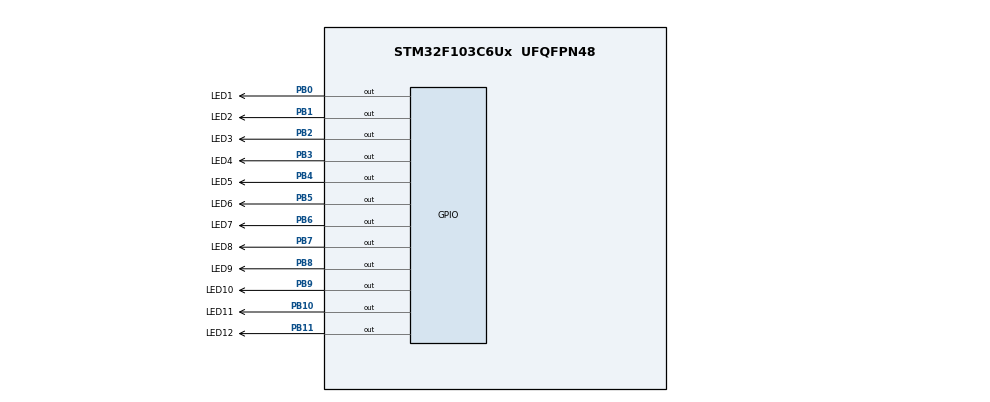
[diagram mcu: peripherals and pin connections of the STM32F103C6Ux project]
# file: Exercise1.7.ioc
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Mcu.Family=STM32F1
Mcu.Name=STM32F103C6Ux
Mcu.Package=UFQFPN48
NVIC.PriorityGroup=NVIC_PRIORITYGROUP_4
PB0.GPIO_Label=LED1
PB0.Signal=GPIO_Output
PB1.GPIO_Label=LED2
PB1.Signal=GPIO_Output
PB10.GPIO_Label=LED11
PB10.Signal=GPIO_Output
PB11.GPIO_Label=LED12
PB11.Signal=GPIO_Output
PB2.GPIO_Label=LED3
PB2.Signal=GPIO_Output
PB3.GPIO_Label=LED4
PB3.Signal=GPIO_Output
PB4.GPIO_Label=LED5
PB4.Signal=GPIO_Output
PB5.GPIO_Label=LED6
PB5.Signal=GPIO_Output
PB6.GPIO_Label=LED7
PB6.Signal=GPIO_Output
PB7.GPIO_Label=LED8
PB7.Signal=GPIO_Output
PB8.GPIO_Label=LED9
PB8.Signal=GPIO_Output
PB9.GPIO_Label=LED10
PB9.Signal=GPIO_Output
ProjectManager.HeapSize=0x200
ProjectManager.StackSize=0x400
ProjectManager.TargetToolchain=STM32CubeIDE
RCC.APB1Freq_Value=8000000
RCC.APB2Freq_Value=8000000
VP_SYS_VS_ND.Mode=No_Debug
board=custom

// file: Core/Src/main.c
/* USER CODE BEGIN Header */
/**
  ******************************************************************************
  * @file           : main.c
  * @brief          : Main program body
  ******************************************************************************
  * @attention
  *
  * <h2><center>&copy; Copyright (c) 2024 STMicroelectronics.
  * All rights reserved.</center></h2>
  *
  * This software component is licensed by ST under BSD 3-Clause license,
  * the "License"; You may not use this file except in compliance with the
  * License. You may obtain a copy of the License at:
  *                        opensource.org/licenses/BSD-3-Clause
  *
  ******************************************************************************
  */
/* USER CODE END Header */
#include "main.h"

void SystemClock_Config(void);
static void MX_GPIO_Init(void);

int main(void)
{

  /* MCU Configuration--------------------------------------------------------*/

  /* Reset of all peripherals, Initializes the Flash interface and the Systick. */
  HAL_Init();

  /* Configure the system clock */
  SystemClock_Config();

  /* Initialize all configured peripherals */
  MX_GPIO_Init();
  /* USER CODE BEGIN 2 */
	#define LED_COUNT 12
	GPIO_PinState LEDS[LED_COUNT] = {
		GPIO_PIN_0, GPIO_PIN_1, GPIO_PIN_2, GPIO_PIN_3,
		GPIO_PIN_4, GPIO_PIN_5, GPIO_PIN_6, GPIO_PIN_7,
		GPIO_PIN_8, GPIO_PIN_9, GPIO_PIN_10, GPIO_PIN_11};
	void testLed (int n) {
		HAL_GPIO_WritePin(GPIOA, GPIO_PIN_4 | GPIO_PIN_5 |
	                    GPIO_PIN_6 | GPIO_PIN_7 | GPIO_PIN_8 |
	                    GPIO_PIN_9 | GPIO_PIN_10 | GPIO_PIN_11 |
	                    GPIO_PIN_12 | GPIO_PIN_13 | GPIO_PIN_14 |
	                    GPIO_PIN_15, SET);
		HAL_GPIO_WritePin(GPIOA, ledPin[n], RESET);
	    }
	void clearAllClock() {
		HAL_GPIO_WritePin(GPIOB, GPIO_PIN_0 | GPIO_PIN_1 | GPIO_PIN_2 | GPIO_PIN_3 |
				GPIO_PIN_4 | GPIO_PIN_5 | GPIO_PIN_6 | GPIO_PIN_7 |
				GPIO_PIN_8 | GPIO_PIN_9 | GPIO_PIN_10 | GPIO_PIN_11, RESET);
	}
  /* USER CODE END 2 */

  /* Infinite loop */
  /* USER CODE BEGIN WHILE */
  int n = 0;
  while (1) {
	  clearAllClock();
	  testLed(n);
	  n++;
	  if(n >= 12) n = 0;
	  HAL_Delay(1000);

    /* USER CODE END WHILE */

  }
}

void SystemClock_Config(void)
{
  RCC_OscInitTypeDef RCC_OscInitStruct = {0};
  RCC_ClkInitTypeDef RCC_ClkInitStruct = {0};

  /** Initializes the RCC Oscillators according to the specified parameters
  * in the RCC_OscInitTypeDef structure.
  */
  RCC_OscInitStruct.OscillatorType = RCC_OSCILLATORTYPE_HSI;
  RCC_OscInitStruct.HSIState = RCC_HSI_ON;
  RCC_OscInitStruct.HSICalibrationValue = RCC_HSICALIBRATION_DEFAULT;
  RCC_OscInitStruct.PLL.PLLState = RCC_PLL_NONE;
  if (HAL_RCC_OscConfig(&RCC_OscInitStruct) != HAL_OK)
  {
    Error_Handler();
  }
  /** Initializes the CPU, AHB and APB buses clocks
  */
  RCC_ClkInitStruct.ClockType = RCC_CLOCKTYPE_HCLK|RCC_CLOCKTYPE_SYSCLK
                              |RCC_CLOCKTYPE_PCLK1|RCC_CLOCKTYPE_PCLK2;
  RCC_ClkInitStruct.SYSCLKSource = RCC_SYSCLKSOURCE_HSI;
  RCC_ClkInitStruct.AHBCLKDivider = RCC_SYSCLK_DIV1;
  RCC_ClkInitStruct.APB1CLKDivider = RCC_HCLK_DIV1;
  RCC_ClkInitStruct.APB2CLKDivider = RCC_HCLK_DIV1;

  if (HAL_RCC_ClockConfig(&RCC_ClkInitStruct, FLASH_LATENCY_0) != HAL_OK)
  {
    Error_Handler();
  }
}

static void MX_GPIO_Init(void)
{
  GPIO_InitTypeDef GPIO_InitStruct = {0};

  /* GPIO Ports Clock Enable */
  __HAL_RCC_GPIOB_CLK_ENABLE();

  /*Configure GPIO pin Output Level */
  HAL_GPIO_WritePin(GPIOB, LED1_Pin|LED2_Pin|LED3_Pin|LED11_Pin
                          |LED12_Pin|LED4_Pin|LED5_Pin|LED6_Pin
                          |LED7_Pin|LED8_Pin|LED9_Pin|LED10_Pin, GPIO_PIN_RESET);

  /*Configure GPIO pins : LED1_Pin LED2_Pin LED3_Pin LED11_Pin
                           LED12_Pin LED4_Pin LED5_Pin LED6_Pin
                           LED7_Pin LED8_Pin LED9_Pin LED10_Pin */
  GPIO_InitStruct.Pin = LED1_Pin|LED2_Pin|LED3_Pin|LED11_Pin
                          |LED12_Pin|LED4_Pin|LED5_Pin|LED6_Pin
                          |LED7_Pin|LED8_Pin|LED9_Pin|LED10_Pin;
  GPIO_InitStruct.Mode = GPIO_MODE_OUTPUT_PP;
  GPIO_InitStruct.Pull = GPIO_NOPULL;
  GPIO_InitStruct.Speed = GPIO_SPEED_FREQ_LOW;
  HAL_GPIO_Init(GPIOB, &GPIO_InitStruct);

}

void Error_Handler(void)
{
  __disable_irq();
  while (1)
  {
  }
}

/************************ (C) COPYRIGHT STMicroelectronics *****END OF FILE****/
